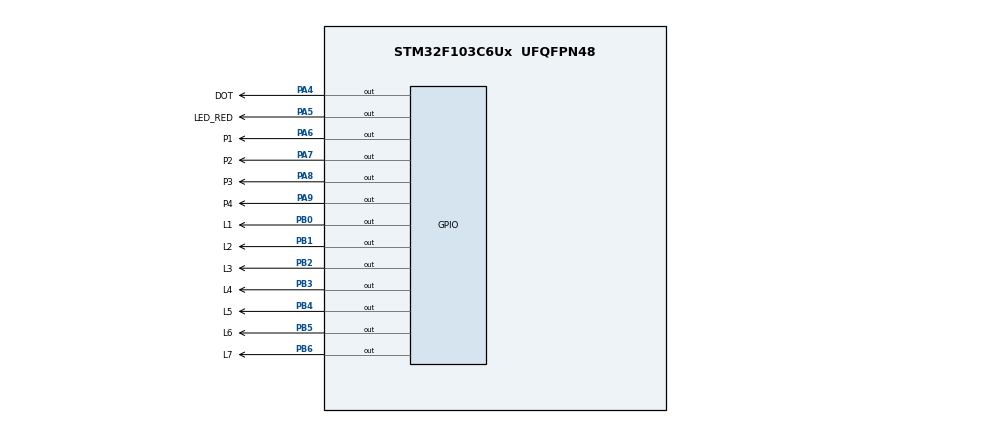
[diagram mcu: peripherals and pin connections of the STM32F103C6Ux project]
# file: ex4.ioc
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Mcu.Family=STM32F1
Mcu.Name=STM32F103C6Ux
Mcu.Package=UFQFPN48
NVIC.PriorityGroup=NVIC_PRIORITYGROUP_4
NVIC.TIM2_IRQn=true\:0\:0\:false\:false\:true\:true\:true
PA4.GPIO_Label=DOT
PA4.Signal=GPIO_Output
PA5.GPIO_Label=LED_RED
PA5.Signal=GPIO_Output
PA6.GPIO_Label=P1
PA6.Signal=GPIO_Output
PA7.GPIO_Label=P2
PA7.Signal=GPIO_Output
PA8.GPIO_Label=P3
PA8.Signal=GPIO_Output
PA9.GPIO_Label=P4
PA9.Signal=GPIO_Output
PB0.GPIO_Label=L1
PB0.Signal=GPIO_Output
PB1.GPIO_Label=L2
PB1.Signal=GPIO_Output
PB2.GPIO_Label=L3
PB2.Signal=GPIO_Output
PB3.GPIO_Label=L4
PB3.Signal=GPIO_Output
PB4.GPIO_Label=L5
PB4.Signal=GPIO_Output
PB5.GPIO_Label=L6
PB5.Signal=GPIO_Output
PB6.GPIO_Label=L7
PB6.Signal=GPIO_Output
ProjectManager.HeapSize=0x200
ProjectManager.StackSize=0x400
ProjectManager.TargetToolchain=STM32CubeIDE
RCC.APB1Freq_Value=8000000
RCC.APB2Freq_Value=8000000
TIM2.Period=9
TIM2.Prescaler=7999
VP_SYS_VS_ND.Mode=No_Debug
VP_TIM2_VS_ClockSourceINT.Mode=Internal
board=custom

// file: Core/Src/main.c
/* USER CODE BEGIN Header */
/**
  ******************************************************************************
  * @file           : main.c
  * @brief          : Main program body
  ******************************************************************************
  * @attention
  *
  * <h2><center>&copy; Copyright (c) 2022 STMicroelectronics.
  * All rights reserved.</center></h2>
  *
  * This software component is licensed by ST under BSD 3-Clause license,
  * the "License"; You may not use this file except in compliance with the
  * License. You may obtain a copy of the License at:
  *                        opensource.org/licenses/BSD-3-Clause
  *
  ******************************************************************************
  */
/* USER CODE END Header */
#include "main.h"

/* USER CODE BEGIN Includes */
#include "software_timer.h"
/* USER CODE END Includes */

TIM_HandleTypeDef htim2;

void SystemClock_Config(void);
static void MX_GPIO_Init(void);
static void MX_TIM2_Init(void);

/* USER CODE BEGIN 0 */
/* USER CODE BEGIN 0 */
void display7SEG(int num){
  	  HAL_GPIO_WritePin( L1_GPIO_Port , L1_Pin ,GPIO_PIN_SET );
  	  HAL_GPIO_WritePin( L2_GPIO_Port , L2_Pin ,GPIO_PIN_SET );
  	  HAL_GPIO_WritePin( L3_GPIO_Port , L3_Pin ,GPIO_PIN_SET );
  	  HAL_GPIO_WritePin( L4_GPIO_Port , L4_Pin ,GPIO_PIN_SET );
  	  HAL_GPIO_WritePin( L5_GPIO_Port , L5_Pin ,GPIO_PIN_SET );
  	  HAL_GPIO_WritePin( L6_GPIO_Port , L6_Pin ,GPIO_PIN_SET );
  	  HAL_GPIO_WritePin( L7_GPIO_Port , L7_Pin ,GPIO_PIN_SET );
  	  if(num<=0){
  		  HAL_GPIO_WritePin( L1_GPIO_Port , L1_Pin ,GPIO_PIN_RESET );
  		  HAL_GPIO_WritePin( L2_GPIO_Port , L2_Pin ,GPIO_PIN_RESET );
  		  HAL_GPIO_WritePin( L3_GPIO_Port , L3_Pin ,GPIO_PIN_RESET );
  		  HAL_GPIO_WritePin( L4_GPIO_Port , L4_Pin ,GPIO_PIN_RESET );
  		  HAL_GPIO_WritePin( L5_GPIO_Port , L5_Pin ,GPIO_PIN_RESET );
  		  HAL_GPIO_WritePin( L6_GPIO_Port , L6_Pin ,GPIO_PIN_RESET );
  	  }
  	  else if(num==1){
  		  HAL_GPIO_WritePin( L2_GPIO_Port , L2_Pin ,GPIO_PIN_RESET );
  		  HAL_GPIO_WritePin( L3_GPIO_Port , L3_Pin ,GPIO_PIN_RESET );
  	  }
  	  else if(num==2){
  		  HAL_GPIO_WritePin( L1_GPIO_Port , L1_Pin ,GPIO_PIN_RESET );
  		  HAL_GPIO_WritePin( L2_GPIO_Port , L2_Pin ,GPIO_PIN_RESET );
  		  HAL_GPIO_WritePin( L4_GPIO_Port , L4_Pin ,GPIO_PIN_RESET );
  		  HAL_GPIO_WritePin( L5_GPIO_Port , L5_Pin ,GPIO_PIN_RESET );
  		  HAL_GPIO_WritePin( L7_GPIO_Port , L7_Pin ,GPIO_PIN_RESET );
  	  }
  	  else if(num==3){
  		  HAL_GPIO_WritePin( L1_GPIO_Port , L1_Pin ,GPIO_PIN_RESET );
  		  HAL_GPIO_WritePin( L2_GPIO_Port , L2_Pin ,GPIO_PIN_RESET );
  		  HAL_GPIO_WritePin( L3_GPIO_Port , L3_Pin ,GPIO_PIN_RESET );
  		  HAL_GPIO_WritePin( L4_GPIO_Port , L4_Pin ,GPIO_PIN_RESET );
  		  HAL_GPIO_WritePin( L7_GPIO_Port , L7_Pin ,GPIO_PIN_RESET );
  	  }
  	  else if(num==4){
  		  HAL_GPIO_WritePin( L2_GPIO_Port , L2_Pin ,GPIO_PIN_RESET );
  		  HAL_GPIO_WritePin( L3_GPIO_Port , L3_Pin ,GPIO_PIN_RESET );
  		  HAL_GPIO_WritePin( L6_GPIO_Port , L6_Pin ,GPIO_PIN_RESET );
  		  HAL_GPIO_WritePin( L7_GPIO_Port , L7_Pin ,GPIO_PIN_RESET );
  	  }
  	  else if(num==5){
  		  HAL_GPIO_WritePin( L1_GPIO_Port , L1_Pin ,GPIO_PIN_RESET );
  		  HAL_GPIO_WritePin( L3_GPIO_Port , L3_Pin ,GPIO_PIN_RESET );
  		  HAL_GPIO_WritePin( L4_GPIO_Port , L4_Pin ,GPIO_PIN_RESET );
  		  HAL_GPIO_WritePin( L6_GPIO_Port , L6_Pin ,GPIO_PIN_RESET );
  		  HAL_GPIO_WritePin( L7_GPIO_Port , L7_Pin ,GPIO_PIN_RESET );
  	  }
  	  else if(num==6){
  		  HAL_GPIO_WritePin( L1_GPIO_Port , L1_Pin ,GPIO_PIN_RESET );
  		  HAL_GPIO_WritePin( L3_GPIO_Port , L3_Pin ,GPIO_PIN_RESET );
  		  HAL_GPIO_WritePin( L4_GPIO_Port , L4_Pin ,GPIO_PIN_RESET );
  		  HAL_GPIO_WritePin( L5_GPIO_Port , L5_Pin ,GPIO_PIN_RESET );
  		  HAL_GPIO_WritePin( L6_GPIO_Port , L6_Pin ,GPIO_PIN_RESET );
  		  HAL_GPIO_WritePin( L7_GPIO_Port , L7_Pin ,GPIO_PIN_RESET );
  	  }
  	  else if(num==7){
  		  HAL_GPIO_WritePin( L1_GPIO_Port , L1_Pin ,GPIO_PIN_RESET );
  		  HAL_GPIO_WritePin( L2_GPIO_Port , L2_Pin ,GPIO_PIN_RESET );
  		  HAL_GPIO_WritePin( L3_GPIO_Port , L3_Pin ,GPIO_PIN_RESET );
  	  }
  	  else if(num==8){
  		  HAL_GPIO_WritePin( L1_GPIO_Port , L1_Pin ,GPIO_PIN_RESET );
  		  HAL_GPIO_WritePin( L2_GPIO_Port , L2_Pin ,GPIO_PIN_RESET );
  		  HAL_GPIO_WritePin( L3_GPIO_Port , L3_Pin ,GPIO_PIN_RESET );
  		  HAL_GPIO_WritePin( L4_GPIO_Port , L4_Pin ,GPIO_PIN_RESET );
  		  HAL_GPIO_WritePin( L5_GPIO_Port , L5_Pin ,GPIO_PIN_RESET );
  		  HAL_GPIO_WritePin( L6_GPIO_Port , L6_Pin ,GPIO_PIN_RESET );
  		  HAL_GPIO_WritePin( L7_GPIO_Port , L7_Pin ,GPIO_PIN_RESET );
  	  }
  	  else if(num==9){
  		  HAL_GPIO_WritePin( L1_GPIO_Port , L1_Pin ,GPIO_PIN_RESET );
  		  HAL_GPIO_WritePin( L2_GPIO_Port , L2_Pin ,GPIO_PIN_RESET );
  		  HAL_GPIO_WritePin( L3_GPIO_Port , L3_Pin ,GPIO_PIN_RESET );
  		  HAL_GPIO_WritePin( L4_GPIO_Port , L4_Pin ,GPIO_PIN_RESET );
  		  HAL_GPIO_WritePin( L6_GPIO_Port , L6_Pin ,GPIO_PIN_RESET );
  		  HAL_GPIO_WritePin( L7_GPIO_Port , L7_Pin ,GPIO_PIN_RESET );
  	  }
    }

const int MAX_LED = 4;
int index_led = 0;
int led_buffer [4] = {1 , 2 , 3 , 4};
void update7SEG (int index) {
	switch (index) {
	 	 case 0:
	 		 // Display the first 7 SEG with led_buffer [0]
			 HAL_GPIO_WritePin(P2_GPIO_Port, P2_Pin, GPIO_PIN_SET);
			 HAL_GPIO_WritePin(P3_GPIO_Port, P3_Pin, GPIO_PIN_SET);
			 HAL_GPIO_WritePin(P4_GPIO_Port, P4_Pin, GPIO_PIN_SET);
			 HAL_GPIO_WritePin(P1_GPIO_Port, P1_Pin, GPIO_PIN_RESET);
			 display7SEG(led_buffer[0]);
	 		 break;
	 	 case 1:
	 		 // Display the second 7 SEG with led_buffer [1]
			 HAL_GPIO_WritePin(P1_GPIO_Port, P1_Pin, GPIO_PIN_SET);
			 HAL_GPIO_WritePin(P3_GPIO_Port, P3_Pin, GPIO_PIN_SET);
			 HAL_GPIO_WritePin(P4_GPIO_Port, P4_Pin, GPIO_PIN_SET);
			 HAL_GPIO_WritePin(P2_GPIO_Port, P2_Pin, GPIO_PIN_RESET);
			 display7SEG(led_buffer[1]);
	 		 break;
	 	 case 2:
	 		 // Display the third 7 SEG with led_buffer [2]
			 HAL_GPIO_WritePin(P2_GPIO_Port, P2_Pin, GPIO_PIN_SET);
			 HAL_GPIO_WritePin(P1_GPIO_Port, P1_Pin, GPIO_PIN_SET);
			 HAL_GPIO_WritePin(P4_GPIO_Port, P4_Pin, GPIO_PIN_SET);
			 HAL_GPIO_WritePin(P3_GPIO_Port, P3_Pin, GPIO_PIN_RESET);
			 display7SEG(led_buffer[2]);
	 		 break ;
	 	 case 3:
	 		 // Display the forth 7 SEG with led_buffer [3]
			 HAL_GPIO_WritePin(P2_GPIO_Port, P2_Pin, GPIO_PIN_SET);
			 HAL_GPIO_WritePin(P3_GPIO_Port, P3_Pin, GPIO_PIN_SET);
			 HAL_GPIO_WritePin(P1_GPIO_Port, P1_Pin, GPIO_PIN_SET);
			 HAL_GPIO_WritePin(P4_GPIO_Port, P4_Pin, GPIO_PIN_RESET);
			 display7SEG(led_buffer[3]);
	 		 break;
	 	 default :
			 display7SEG(8);
	 		 break;
	 }
 }

/* USER CODE END 0 */

int main(void)
{

  /* MCU Configuration--------------------------------------------------------*/

  /* Reset of all peripherals, Initializes the Flash interface and the Systick. */
  HAL_Init();

  /* Configure the system clock */
  SystemClock_Config();

  /* Initialize all configured peripherals */
  MX_GPIO_Init();
  MX_TIM2_Init();
  /* USER CODE BEGIN 2 */
  HAL_TIM_Base_Start_IT (&htim2);
  /* USER CODE END 2 */

  /* Infinite loop */
  /* USER CODE BEGIN WHILE */
  int ledIndex = 0;
  HAL_GPIO_WritePin(LED_RED_GPIO_Port, LED_RED_Pin, RESET);
  HAL_GPIO_WritePin(DOT_GPIO_Port, DOT_Pin, RESET);
  setTimer1(25);
  setTimer2(100);
  while (1)
  {
	  if(timer1_flag == 1){
		  setTimer1(25);
		  HAL_GPIO_TogglePin(LED_RED_GPIO_Port, LED_RED_Pin);
		  update7SEG(ledIndex);
		  ledIndex++;
		  if(ledIndex > 3)
			  	  ledIndex = 0;
	  }
	  if(timer2_flag == 1){
		  setTimer2(100);
		  HAL_GPIO_TogglePin(DOT_GPIO_Port, DOT_Pin);
	  }
    /* USER CODE END WHILE */

  }
}

void SystemClock_Config(void)
{
  RCC_OscInitTypeDef RCC_OscInitStruct = {0};
  RCC_ClkInitTypeDef RCC_ClkInitStruct = {0};

  /** Initializes the RCC Oscillators according to the specified parameters
  * in the RCC_OscInitTypeDef structure.
  */
  RCC_OscInitStruct.OscillatorType = RCC_OSCILLATORTYPE_HSI;
  RCC_OscInitStruct.HSIState = RCC_HSI_ON;
  RCC_OscInitStruct.HSICalibrationValue = RCC_HSICALIBRATION_DEFAULT;
  RCC_OscInitStruct.PLL.PLLState = RCC_PLL_NONE;
  if (HAL_RCC_OscConfig(&RCC_OscInitStruct) != HAL_OK)
  {
    Error_Handler();
  }
  /** Initializes the CPU, AHB and APB buses clocks
  */
  RCC_ClkInitStruct.ClockType = RCC_CLOCKTYPE_HCLK|RCC_CLOCKTYPE_SYSCLK
                              |RCC_CLOCKTYPE_PCLK1|RCC_CLOCKTYPE_PCLK2;
  RCC_ClkInitStruct.SYSCLKSource = RCC_SYSCLKSOURCE_HSI;
  RCC_ClkInitStruct.AHBCLKDivider = RCC_SYSCLK_DIV1;
  RCC_ClkInitStruct.APB1CLKDivider = RCC_HCLK_DIV1;
  RCC_ClkInitStruct.APB2CLKDivider = RCC_HCLK_DIV1;

  if (HAL_RCC_ClockConfig(&RCC_ClkInitStruct, FLASH_LATENCY_0) != HAL_OK)
  {
    Error_Handler();
  }
}

static void MX_TIM2_Init(void)
{

  TIM_ClockConfigTypeDef sClockSourceConfig = {0};
  TIM_MasterConfigTypeDef sMasterConfig = {0};

  htim2.Instance = TIM2;
  htim2.Init.Prescaler = 7999;
  htim2.Init.CounterMode = TIM_COUNTERMODE_UP;
  htim2.Init.Period = 9;
  htim2.Init.ClockDivision = TIM_CLOCKDIVISION_DIV1;
  htim2.Init.AutoReloadPreload = TIM_AUTORELOAD_PRELOAD_DISABLE;
  if (HAL_TIM_Base_Init(&htim2) != HAL_OK)
  {
    Error_Handler();
  }
  sClockSourceConfig.ClockSource = TIM_CLOCKSOURCE_INTERNAL;
  if (HAL_TIM_ConfigClockSource(&htim2, &sClockSourceConfig) != HAL_OK)
  {
    Error_Handler();
  }
  sMasterConfig.MasterOutputTrigger = TIM_TRGO_RESET;
  sMasterConfig.MasterSlaveMode = TIM_MASTERSLAVEMODE_DISABLE;
  if (HAL_TIMEx_MasterConfigSynchronization(&htim2, &sMasterConfig) != HAL_OK)
  {
    Error_Handler();
  }

}

static void MX_GPIO_Init(void)
{
  GPIO_InitTypeDef GPIO_InitStruct = {0};

  /* GPIO Ports Clock Enable */
  __HAL_RCC_GPIOA_CLK_ENABLE();
  __HAL_RCC_GPIOB_CLK_ENABLE();

  /*Configure GPIO pin Output Level */
  HAL_GPIO_WritePin(GPIOA, DOT_Pin|LED_RED_Pin|P1_Pin|P2_Pin
                          |P3_Pin|P4_Pin, GPIO_PIN_RESET);

  /*Configure GPIO pin Output Level */
  HAL_GPIO_WritePin(GPIOB, L1_Pin|L2_Pin|L3_Pin|L4_Pin
                          |L5_Pin|L6_Pin|L7_Pin, GPIO_PIN_RESET);

  /*Configure GPIO pins : DOT_Pin LED_RED_Pin P1_Pin P2_Pin
                           P3_Pin P4_Pin */
  GPIO_InitStruct.Pin = DOT_Pin|LED_RED_Pin|P1_Pin|P2_Pin
                          |P3_Pin|P4_Pin;
  GPIO_InitStruct.Mode = GPIO_MODE_OUTPUT_PP;
  GPIO_InitStruct.Pull = GPIO_NOPULL;
  GPIO_InitStruct.Speed = GPIO_SPEED_FREQ_LOW;
  HAL_GPIO_Init(GPIOA, &GPIO_InitStruct);

  /*Configure GPIO pins : L1_Pin L2_Pin L3_Pin L4_Pin
                           L5_Pin L6_Pin L7_Pin */
  GPIO_InitStruct.Pin = L1_Pin|L2_Pin|L3_Pin|L4_Pin
                          |L5_Pin|L6_Pin|L7_Pin;
  GPIO_InitStruct.Mode = GPIO_MODE_OUTPUT_PP;
  GPIO_InitStruct.Pull = GPIO_NOPULL;
  GPIO_InitStruct.Speed = GPIO_SPEED_FREQ_LOW;
  HAL_GPIO_Init(GPIOB, &GPIO_InitStruct);

}

/* USER CODE BEGIN 4 */
void HAL_TIM_PeriodElapsedCallback ( TIM_HandleTypeDef* htim )
{
	timerRun();
}
/* USER CODE END 4 */

void Error_Handler(void)
{
  __disable_irq();
  while (1)
  {
  }
}

/************************ (C) COPYRIGHT STMicroelectronics *****END OF FILE****/
